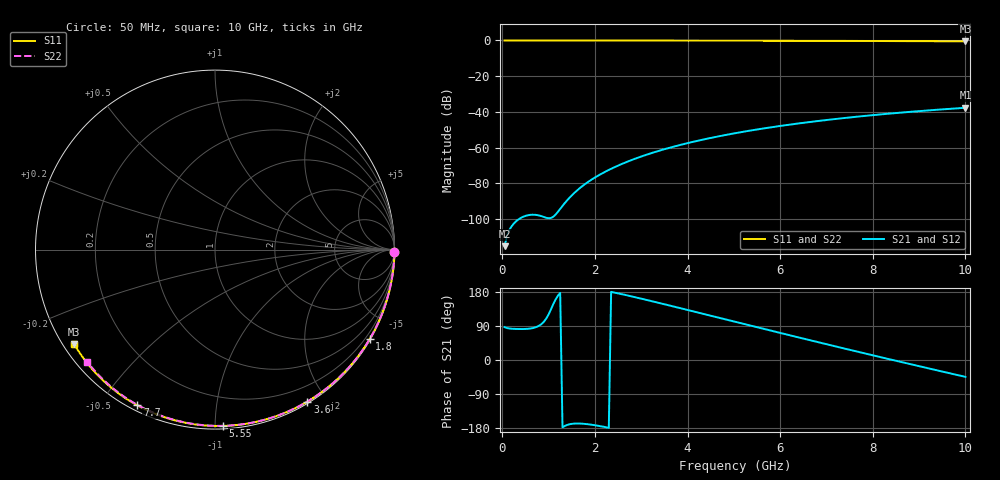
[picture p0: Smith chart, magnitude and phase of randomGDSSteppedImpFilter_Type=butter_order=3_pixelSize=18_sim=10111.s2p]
! freq	dB(S11)	phase(S11)	dB(S12)	phase(S12)
!  dB(S21)	phase(S21)	dB(S22)	phase(S22)
!S-par simulation data
#  GHz  S  DB  R 50
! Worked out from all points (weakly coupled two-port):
!   200 points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, 50 MHz to 10 GHz, reference 50 ohm
!   highest |S21| = -37.66 dB at 10 GHz (marker M1); lowest = -115.1 dB at 50 MHz (marker M2)
!   lowest |S11| = -0.5 dB at 10 GHz (marker M3), VSWR 35.23, Z = 1.55 - j15.2 ohm
!   |S11| at or under -10 dB: nowhere
!   |S22| runs from -0.5 to 0.0 dB; largest |S21 - S12| = 0
!   S11 on the Smith chart (normalised r, x): 50 MHz: open; 1.8 GHz: 0.03, -3.72; 3.6 GHz: 0.02, -1.78; 5.55 GHz: 0.02, -1.05; 7.7 GHz: 0.02, -0.62; 10 GHz: 0.03, -0.30
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0.05  -0.00 -0.9  -115.09 86.7  -115.09 86.7  -0.00 -0.8
0.45  -0.01 -7.6  -98.65 81.7  -98.65 81.7  -0.01 -7.2
0.9  -0.02 -15.2  -98.78 101.3  -98.78 101.3  -0.02 -14.3
1.3  -0.03 -21.9  -92.55 -177.7  -92.55 -177.7  -0.03 -20.6
1.75  -0.04 -29.3  -81.06 -168.3  -81.06 -168.3  -0.04 -27.6
1.8  -0.04 -30.1  -80.10 -168.9  -80.10 -168.9  -0.04 -28.4
2  -0.04 -33.4  -76.69 -172.1  -76.69 -172.1  -0.04 -31.5
2.15  -0.05 -35.8  -74.45 -175.3  -74.45 -175.3  -0.04 -33.8
2.5  -0.05 -41.4  -70.01 175.9  -70.01 175.9  -0.05 -39.1
2.9  -0.06 -47.8  -65.85 164.8  -65.85 164.8  -0.06 -45.2
3.4  -0.07 -55.6  -61.60 150.1  -61.60 150.1  -0.07 -52.6
3.6  -0.08 -58.7  -60.12 144.2  -60.12 144.2  -0.07 -55.5
3.9  -0.09 -63.3  -58.08 135.1  -58.08 135.1  -0.08 -59.9
4.3  -0.10 -69.3  -55.65 123.0  -55.65 123.0  -0.09 -65.6
5.05  -0.12 -80.3  -51.78 100.2  -51.78 100.2  -0.12 -76.0
5.55  -0.14 -87.4  -49.59 85.0  -49.59 85.0  -0.14 -82.8
6.1  -0.17 -95.0  -47.47 68.5  -47.47 68.5  -0.16 -90.1
6.7  -0.20 -103.2  -45.43 50.5  -45.43 50.5  -0.19 -97.9
7.7  -0.27 -116.5  -42.54 21.1  -42.54 21.1  -0.25 -110.6
8.35  -0.32 -124.9  -40.95 2.3  -40.95 2.3  -0.30 -118.6
9.2  -0.40 -135.9  -39.13 -22.0  -39.13 -22.0  -0.38 -128.9
10  -0.49 -146.2  -37.66 -44.5  -37.66 -44.5  -0.47 -138.6
